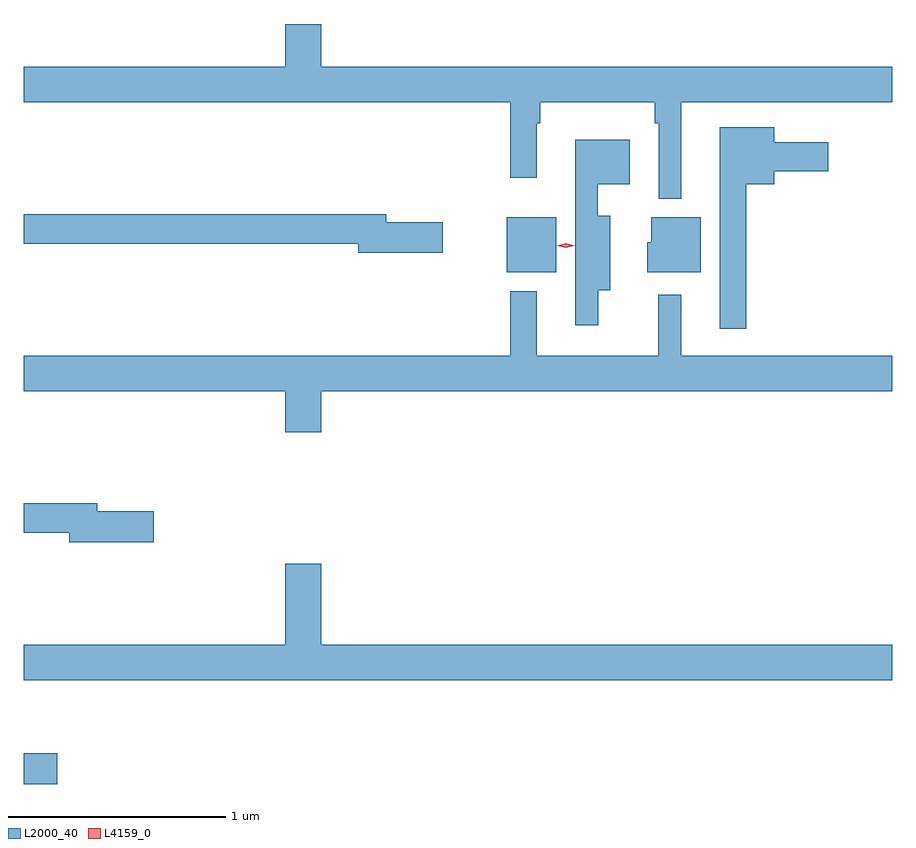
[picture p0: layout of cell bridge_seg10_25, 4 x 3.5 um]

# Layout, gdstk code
import gdstk
lib = gdstk.Library(unit=1e-6, precision=1e-09)
def R(c, l, rs):  # rectangles x0, y0, x1, y1
    for r in rs: c.add(gdstk.rectangle(r[:2], r[2:], *l))
def P(c, l, *ps):  # polygons
    for p in ps: c.add(gdstk.Polygon(p, *l))
L2000_40 = (2000, 40)
L4159_0 = (4159, 0)

bridge_seg10_25 = lib.new_cell('bridge_seg10_25')
R(bridge_seg10_25, L2000_40, [(955.011,1283.855,955.165,1283.997), (957.236,1286.213,957.463,1286.467)])
P(bridge_seg10_25, L2000_40, [(958.039,1286.996),(959.011,1286.996),(959.011,1287.16),(956.38,1287.16),(956.38,1287.357),(956.216,1287.357),(956.216,1287.16),(955.011,1287.16),(955.011,1286.996),(957.252,1286.996),(957.252,1286.649),(957.373,1286.649),(957.373,1286.9),(957.391,1286.9),(957.391,1286.996),(957.918,1286.996),(957.918,1286.9),(957.935,1286.9),(957.935,1286.552),(958.039,1286.552)],
  [(958.339,1286.618),(958.468,1286.618),(958.468,1286.678),(958.717,1286.678),(958.717,1286.812),(958.468,1286.812),(958.468,1286.881),(958.217,1286.881),(958.217,1285.953),(958.339,1285.953)],
  [(957.658,1286.129),(957.712,1286.129),(957.712,1286.473),(957.655,1286.473),(957.655,1286.618),(957.802,1286.618),(957.802,1286.824),(957.551,1286.824),(957.551,1285.968),(957.658,1285.968)],
  [(956.941,1286.444),(956.68,1286.444),(956.68,1286.48),(955.011,1286.48),(955.011,1286.344),(956.552,1286.344),(956.552,1286.302),(956.941,1286.302)],
  [(958.129,1286.467),(957.902,1286.467),(957.902,1286.352),(957.884,1286.352),(957.884,1286.213),(958.129,1286.213)],
  [(956.38,1285.664),(959.011,1285.664),(959.011,1285.828),(958.039,1285.828),(958.039,1286.11),(957.933,1286.11),(957.933,1285.828),(957.373,1285.828),(957.373,1286.125),(957.252,1286.125),(957.252,1285.828),(955.011,1285.828),(955.011,1285.664),(956.216,1285.664),(956.216,1285.476),(956.38,1285.476)],
  [(955.609,1285.112),(955.348,1285.112),(955.348,1285.148),(955.011,1285.148),(955.011,1285.012),(955.22,1285.012),(955.22,1284.97),(955.609,1284.97)],
  [(959.011,1284.496),(956.38,1284.496),(956.38,1284.871),(956.216,1284.871),(956.216,1284.496),(955.011,1284.496),(955.011,1284.332),(959.011,1284.332)])
P(bridge_seg10_25, L4159_0, [(957.507,1286.326),(957.468,1286.336),(957.468,1286.336),(957.468,1286.336),(957.508,1286.346),(957.547,1286.335),(957.547,1286.335),(957.547,1286.335)])

lib.write_gds('bridge_seg10_25.gds')
